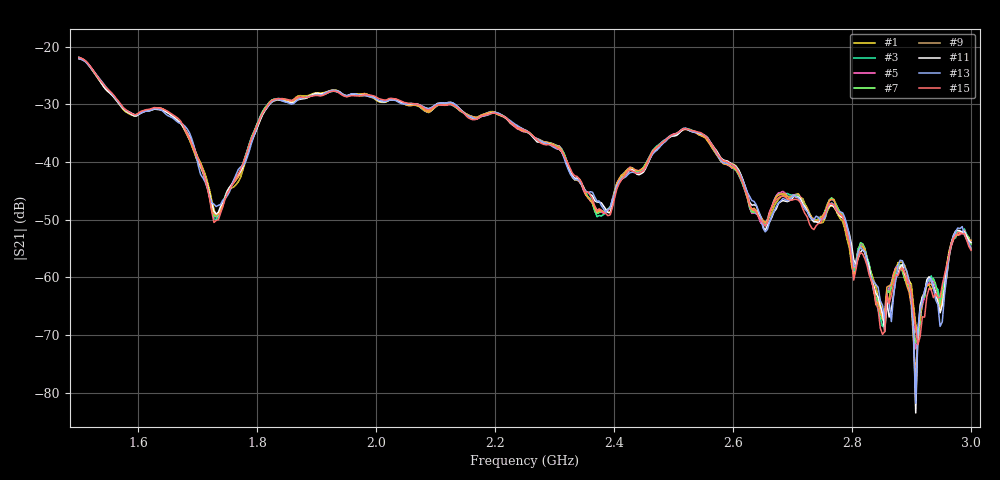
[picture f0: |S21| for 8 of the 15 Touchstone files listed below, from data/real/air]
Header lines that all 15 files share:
# HZ S RI R 50
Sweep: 1.5 GHz to 3 GHz
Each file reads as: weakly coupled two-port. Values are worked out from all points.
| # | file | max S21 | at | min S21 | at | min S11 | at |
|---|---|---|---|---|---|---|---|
| 1 | Air_083.s2p | -21.99 dB | 1.5 GHz | -71.0 dB | 2.911 GHz | -40.3 dB | 2.23 GHz |
| 2 | Air_084.s2p | -22.09 dB | 1.5 GHz | -76.1 dB | 2.907 GHz | -40.0 dB | 2.23 GHz |
| 3 | Air_085.s2p | -22.06 dB | 1.5 GHz | -70.3 dB | 2.911 GHz | -40.1 dB | 2.23 GHz |
| 4 | Air_086.s2p | -22.03 dB | 1.5 GHz | -71.8 dB | 2.911 GHz | -40.5 dB | 2.23 GHz |
| 5 | Air_087.s2p | -22.10 dB | 1.5 GHz | -72.4 dB | 2.907 GHz | -40.7 dB | 2.23 GHz |
| 6 | Air_088.s2p | -22.10 dB | 1.5 GHz | -75.1 dB | 2.907 GHz | -40.4 dB | 2.23 GHz |
| 7 | Air_089.s2p | -22.09 dB | 1.5 GHz | -71.3 dB | 2.907 GHz | -40.5 dB | 2.23 GHz |
| 8 | Air_090.s2p | -22.11 dB | 1.5 GHz | -76.6 dB | 2.907 GHz | -40.9 dB | 2.23 GHz |
| 9 | Air_091.s2p | -22.05 dB | 1.5 GHz | -77.4 dB | 2.907 GHz | -40.7 dB | 2.23 GHz |
| 10 | Air_093.s2p | -21.90 dB | 1.5 GHz | -90.7 dB | 2.907 GHz | -39.3 dB | 2.23 GHz |
| 11 | Air_094.s2p | -21.85 dB | 1.5 GHz | -83.5 dB | 2.907 GHz | -39.8 dB | 2.23 GHz |
| 12 | Air_095.s2p | -21.91 dB | 1.5 GHz | -84.0 dB | 2.907 GHz | -40.0 dB | 2.23 GHz |
| 13 | Air_096.s2p | -22.07 dB | 1.5 GHz | -81.8 dB | 2.907 GHz | -38.8 dB | 2.23 GHz |
| 14 | Air_097.s2p | -21.98 dB | 1.5 GHz | -77.0 dB | 2.911 GHz | -38.7 dB | 2.23 GHz |
| 15 | Air_100.s2p | -21.90 dB | 1.5 GHz | -71.7 dB | 2.911 GHz | -40.0 dB | 2.23 GHz |
